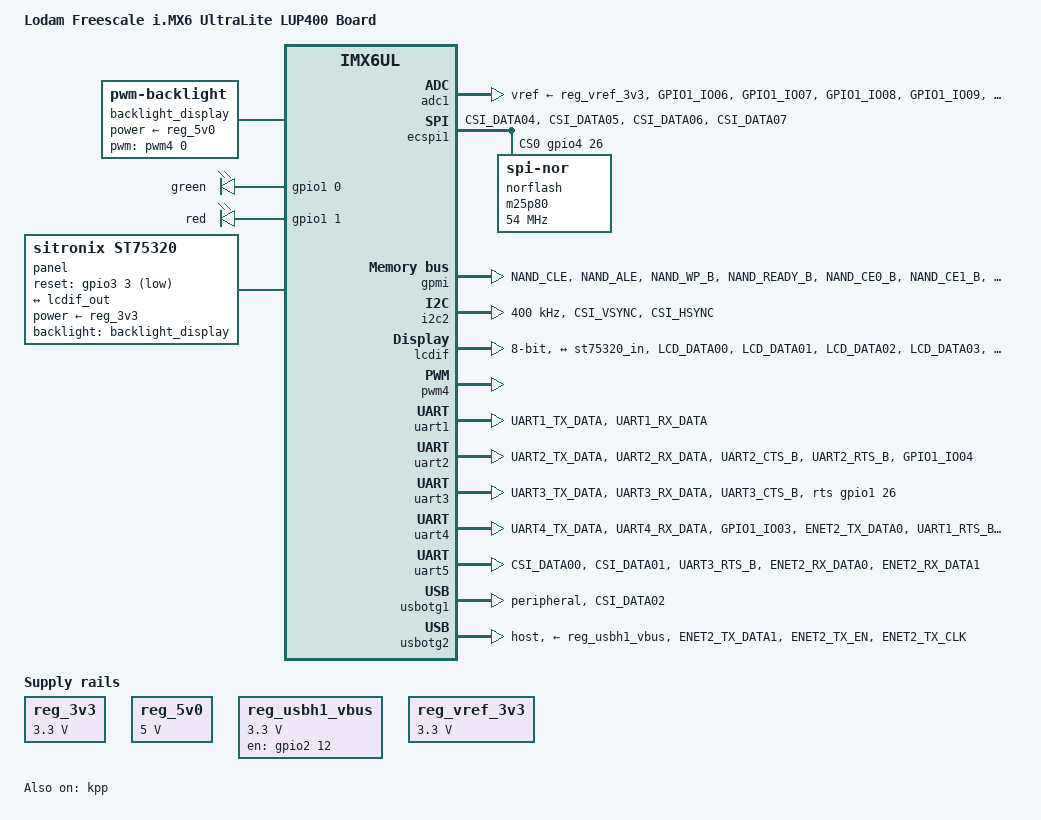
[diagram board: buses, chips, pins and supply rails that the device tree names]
/*
 * The code contained herein is licensed under the GNU General Public
 * License. You may obtain a copy of the GNU General Public License
 * Version 2 or later at the following locations:
 *
 * http://www.opensource.org/licenses/gpl-license.html
 * http://www.gnu.org/copyleft/gpl.html
 */

/dts-v1/;

#include "arm/imx6ul.dtsi"

/ {
	model = "Lodam Freescale i.MX6 UltraLite LUP400 Board";
	compatible = "lodam,imx6ul-lup400", "fsl,imx6ul";

	backlight_display: backlight-display {
		compatible = "pwm-backlight";
		pinctrl-names = "default";
		pinctrl-0 = <&pinctrl_backlight>;
		pwms = <&pwm4 0 20000>;
		brightness-levels = <0 16 32 48 64 80 96 112 128 144 160 176 192 208 224 240 255>;
		default-brightness-level = <16>;
		power-supply = <&reg_5v0>;
		status = "okay";
	};

	chosen {
		stdout-path = &uart1;

		environment@0 {
			compatible = "barebox,environment";
			device-path = &norflash, "partname:barebox-environment";
		};
	};

	leds: leds {
		compatible = "gpio-leds";
		pinctrl-names = "default";
		pinctrl-0 = <&pinctrl_leds>;

		led1: led1 {
			label = "green";
			gpios = <&gpio1 0 GPIO_ACTIVE_HIGH>;
			default-state = "on";
		};

		led2: led2 {
			label = "red";
			gpios = <&gpio1 1 GPIO_ACTIVE_HIGH>;
			default-state = "on";
		};
	};

	panel {
		compatible = "sitronix,st75320";
		backlight = <&backlight_display>;
		reset-gpios = <&gpio3 3 GPIO_ACTIVE_LOW>;
		power-supply = <&reg_3v3>;

		/* V3 in mV */
		st75320,contrast-levels = <10700 10800 10900 11000 11100 11200 11300 11400 11500 11600 11700 11800 11900 12000>;
		st75320,default-contrast-level = <8>;
		/* coefficients in mV  */
		st75320,temperature-coefficients = <0 0
						    0 0
						    0 0
						    0 0
						    0 0
						    0 0
						    0 0
						    0 0>;
		/* Lodam example values from email attachment
		st75320,temperature-coefficients = <(-55) (-25)
						    0 0
						    0 (-5)
						    (-10) (-10)
						    (-15) (-15)
						    (-20) (-25)
						    (-35) (-45)
						    (-75) (-75)>;
		*/
		port {
			st75320_in: endpoint {
				remote-endpoint = <&lcdif_out>;
			};
		};
	};

	regulators {
		compatible = "simple-bus";

		reg_3v3: 3v3 {
			compatible = "regulator-fixed";
			regulator-name = "3v3";
			regulator-min-microvolt = <3300000>;
			regulator-max-microvolt = <3300000>;
			regulator-always-on;
		};

		reg_5v0: 5v0 {
			compatible = "regulator-fixed";
			regulator-name = "5v0";
			regulator-min-microvolt = <5000000>;
			regulator-max-microvolt = <5000000>;
			regulator-always-on;
		};

		reg_usbh1_vbus: usb-h1-vbus {
			compatible = "regulator-fixed";
			enable-active-high;
			gpio = <&gpio2 12 GPIO_ACTIVE_HIGH>;
			regulator-name = "usb_h1_vbus";
			regulator-min-microvolt = <3300000>;
			regulator-max-microvolt = <3300000>;
		};

		reg_vref_3v3: vref-3v3 {
			compatible = "regulator-fixed";
			regulator-name = "vref_3v3";
			regulator-min-microvolt = <3300000>;
			regulator-max-microvolt = <3300000>;
			regulator-always-on;
		};
	};
};

&adc1 {
	pinctrl-names = "default";
	pinctrl-0 = <&pinctrl_adc1>;
	vref-supply = <&reg_vref_3v3>;
	num-channels = <10>;
	status = "okay";
};

/* &can1 { */
/* 	pinctrl-names = "default"; */
/* 	pinctrl-0 = <&pinctrl_flexcan1>; */
/* 	xceiver-supply = <&reg_3p3v>; */
/* }; */

&ecspi1 {
	fsl,spi-num-chipselects = <1>;
	cs-gpios = <&gpio4 26 0>;
	pinctrl-names = "default";
	pinctrl-0 = <&pinctrl_ecspi1>;
	status = "okay";

	norflash: m25p80@0 {
		#address-cells = <1>;
		#size-cells = <1>;
		compatible = "jedec,spi-nor";
		spi-max-frequency = <54000000>;
		reg = <0>;
	};
};

&gpio1 {
	gpio-line-names = "", "", "PMIC_INT_B", "GNSS_ENABLE", "/Bluetooth_Reset", "", "", "",
			  "", "", "", "", "", "", "", "",
			  "", "", "/MODEM_IO", "/MODEM_RESET", "", "", "", "",
			  "", "", "LMC_TransmitEnable", "AUX_TransmitEnable", "", "", "/ONOFF_DETECT", "BAT_MEAS_ENAB";
};

&gpio2 {
	gpio-line-names = "", "", "", "", "", "", "", "",
			  "AUX_PWREN", "AUX_PWR_OC", "", "USB_MODEM_PWREN", "", "", "/USB_HUB_RESET", "",
			  "", "", "", "", "", "", "", "",
			  "", "", "", "", "", "", "", "";
};

&gpio4 {
	gpio-line-names = "", "", "", "", "", "", "", "",
			  "", "", "", "", "", "", "", "",
			  "", "", "", "", "", "", "", "USB_5V_present",
			  "LMC_ON_PULSE", "", "", "", "", "", "", "";
};

&gpmi {
	#address-cells = <1>;
	#size-cells = <1>;
	pinctrl-names = "default";
	pinctrl-0 = <&pinctrl_gpmi_nand>;
	nand-on-flash-bbt;
	status = "okay";
};

&i2c2 {
	clock-frequency = <400000>;
	pinctrl-names = "default";
	pinctrl-0 = <&pinctrl_i2c2>;
	status = "okay";
};

&iomuxc {
	pinctrl-names = "default";
	pinctrl-0 = <&pinctrl_hog>;

	pinctrl_hog: hoggrp {
		/* adjust settings of some pads to save battery power */
		fsl,pins = <
			/* Input signal is always defined externally => no PU/PD */
			MX6UL_PAD_BOOT_MODE0__GPIO5_IO10	0x0
			MX6UL_PAD_BOOT_MODE1__GPIO5_IO11	0x0

			/* Input signal is always defined externally => no PU/PD */
			MX6UL_PAD_SNVS_TAMPER0__GPIO5_IO00	0x0
			MX6UL_PAD_SNVS_TAMPER1__GPIO5_IO01	0x0
			MX6UL_PAD_SNVS_TAMPER2__GPIO5_IO02	0x0
			MX6UL_PAD_SNVS_TAMPER3__GPIO5_IO03	0x0
			MX6UL_PAD_SNVS_TAMPER4__GPIO5_IO04	0x0
			MX6UL_PAD_SNVS_TAMPER5__GPIO5_IO05	0x0
			MX6UL_PAD_SNVS_TAMPER6__GPIO5_IO06	0x0
			MX6UL_PAD_SNVS_TAMPER7__GPIO5_IO07	0x0
			MX6UL_PAD_SNVS_TAMPER8__GPIO5_IO08	0x0
			MX6UL_PAD_SNVS_TAMPER9__GPIO5_IO09	0x0

			/* Input signal is always defined externally => no PU/PD */
			MX6UL_PAD_JTAG_MOD__SJC_MOD		0x0
			MX6UL_PAD_JTAG_TMS__SJC_TMS		0x0
			MX6UL_PAD_JTAG_TDI__SJC_TDI		0x0
			MX6UL_PAD_JTAG_TCK__SJC_TCK		0x0
			MX6UL_PAD_JTAG_TRST_B__SJC_TRSTB	0x0

			/* Input signal is always defined externally => no PU/PD */
			MX6UL_PAD_ENET2_RX_DATA1__GPIO2_IO09	0x0
			MX6UL_PAD_ENET2_RX_EN__GPIO2_IO10	0x0
			MX6UL_PAD_ENET2_RX_ER__GPIO2_IO15	0x0

			/* Input signal is always defined externally => no PU/PD */
			MX6UL_PAD_SD1_CMD__GPIO2_IO16		0x0
			MX6UL_PAD_SD1_CLK__GPIO2_IO17		0x0
			MX6UL_PAD_SD1_DATA2__GPIO2_IO20		0x0
			MX6UL_PAD_SD1_DATA3__GPIO2_IO21		0x0
			MX6UL_PAD_CSI_MCLK__GPIO4_IO17		0x0
			MX6UL_PAD_CSI_PIXCLK__GPIO4_IO18	0x0

			/* Output with default configuration */
			MX6UL_PAD_JTAG_TDO__SJC_TDO		0x31
		>;
	};

	pinctrl_adc1: adc1grp {
		fsl,pins = <
			MX6UL_PAD_GPIO1_IO06__GPIO1_IO06	0x0	/* BAT_MEAS */
			MX6UL_PAD_GPIO1_IO07__GPIO1_IO07	0x0	/* MAINS_MEAS */
			MX6UL_PAD_GPIO1_IO08__GPIO1_IO08	0x0	/* 0V8_Vref */
			MX6UL_PAD_GPIO1_IO09__GPIO1_IO09	0x0	/* NTC Temp. sensor */
			MX6UL_PAD_UART5_RX_DATA__GPIO1_IO31	0x1b020	/* BAT_MEAS_ENABLE */
		>;
	};

	pinctrl_backlight: backlightgrp {
		fsl,pins = <
			MX6UL_PAD_GPIO1_IO05__PWM4_OUT		0x000b0	/* PWM Backlight */
		>;
	};

	pinctrl_diverse_power_related: diverse-power-related-grp {
		fsl,pins = <
			MX6UL_PAD_CSI_DATA03__GPIO4_IO24	0x00020	/* LMC_ON_PULSE */
			MX6UL_PAD_GPIO1_IO02__GPIO1_IO02	0x1b000	/* PMIC_INT_B */
		>;
	};

	pinctrl_ecspi1: ecspi1grp {
		fsl,pins = <
			MX6UL_PAD_CSI_DATA04__ECSPI1_SCLK	0x000b1	/* eCSPI1.SCLK */
			MX6UL_PAD_CSI_DATA05__GPIO4_IO26	0x000b1	/* eCSPI1.SS0 */
			MX6UL_PAD_CSI_DATA06__ECSPI1_MOSI	0x000b1	/* eCSPI1.MOSI */
			MX6UL_PAD_CSI_DATA07__ECSPI1_MISO	0x10000	/* eCSPI1.MISO */
		>;
	};

	pinctrl_flexcan1: flexcan1grp {
		fsl,pins = <
			MX6UL_PAD_SD1_DATA0__FLEXCAN1_TX	0x1b020	/* CAN1_TX */
			MX6UL_PAD_SD1_DATA1__FLEXCAN1_RX	0x1b020	/* CAN1_RX */
		>;
	};

	pinctrl_gpmi_nand: gpmi-nand {
		fsl,pins = <
			MX6UL_PAD_NAND_CLE__RAWNAND_CLE         0xb0b1	/* NAND_CLE */
			MX6UL_PAD_NAND_ALE__RAWNAND_ALE         0xb0b1	/* NAND_ALE */
			MX6UL_PAD_NAND_WP_B__RAWNAND_WP_B       0xb0b1	/* NAND_nWP */
			MX6UL_PAD_NAND_READY_B__RAWNAND_READY_B 0xb000	/* NAND_nREADY */
			MX6UL_PAD_NAND_CE0_B__RAWNAND_CE0_B     0xb0b1	/* NAND_nCE0 */
			MX6UL_PAD_NAND_CE1_B__RAWNAND_CE1_B     0x0	/* NAND_nCE1, has external 10k PD */
			MX6UL_PAD_NAND_DQS__RAWNAND_DQS		0x0	/* NAND_DQS, has external 10k PD */
			MX6UL_PAD_NAND_RE_B__RAWNAND_RE_B       0xb0b1	/* NAND_nRE */
			MX6UL_PAD_NAND_WE_B__RAWNAND_WE_B       0xb0b1	/* NAND_nWE */
			MX6UL_PAD_NAND_DATA00__RAWNAND_DATA00   0xb0b1	/* NAND_DATA0 */
			MX6UL_PAD_NAND_DATA01__RAWNAND_DATA01   0xb0b1	/* NAND_DATA1 */
			MX6UL_PAD_NAND_DATA02__RAWNAND_DATA02   0xb0b1	/* NAND_DATA2 */
			MX6UL_PAD_NAND_DATA03__RAWNAND_DATA03   0xb0b1	/* NAND_DATA3 */
			MX6UL_PAD_NAND_DATA04__RAWNAND_DATA04   0xb0b1	/* NAND_DATA4 */
			MX6UL_PAD_NAND_DATA05__RAWNAND_DATA05   0xb0b1	/* NAND_DATA5 */
			MX6UL_PAD_NAND_DATA06__RAWNAND_DATA06   0xb0b1	/* NAND_DATA6 */
			MX6UL_PAD_NAND_DATA07__RAWNAND_DATA07   0xb0b1	/* NAND_DATA7 */
		>;
	};

	pinctrl_i2c2: i2c2grp {
		fsl,pins = <
			MX6UL_PAD_CSI_VSYNC__I2C2_SDA		0x820	/* I2C_SDA */
			MX6UL_PAD_CSI_HSYNC__I2C2_SCL		0x820	/* I2C_SCL */
		>;
	};

	pinctrl_kpp: kppgrp {
		fsl,pins = <
			MX6UL_PAD_ENET1_RX_DATA0__KPP_ROW00	0x1f820	/* kpp_ROW0 */
			MX6UL_PAD_ENET1_RX_EN__KPP_ROW01	0x1f820	/* kpp_ROW1 */
			MX6UL_PAD_ENET1_TX_DATA1__KPP_ROW02	0x1f820	/* kpp_ROW2 */
			MX6UL_PAD_ENET1_TX_CLK__KPP_ROW03	0x1f820	/* kpp_ROW3 */
			MX6UL_PAD_ENET1_RX_DATA1__KPP_COL00	0x1f820	/* kpp_COL0 */
			MX6UL_PAD_ENET1_TX_DATA0__KPP_COL01	0x1f820	/* kpp_COL1 */
			MX6UL_PAD_ENET1_TX_EN__KPP_COL02	0x1f820	/* kpp_COL2 */
			MX6UL_PAD_ENET1_RX_ER__KPP_COL03	0x1f820	/* kpp_COL3 */
			MX6UL_PAD_UART5_TX_DATA__GPIO1_IO30	0x1b020	/* !ONOFF_Detect */
		>;
	};

	pinctrl_lcdif_ctrl: lcdifctrlgrp {
		fsl,pins = <
			MX6UL_PAD_LCD_CLK__LCDIF_WR_RWN		0x10b0	/* !LCD_WR */
			MX6UL_PAD_LCD_ENABLE__LCDIF_RD_E	0x10b0	/* !LCD_RD */
			MX6UL_PAD_LCD_HSYNC__LCDIF_RS		0x10b0	/* LCD_RS */
			MX6UL_PAD_LCD_VSYNC__GPIO3_IO03		0xb0	/* !LCD_RESET */
			MX6UL_PAD_LCD_RESET__LCDIF_CS		0x10b0	/* !LCD_CS */
		>;
	};

	pinctrl_lcdif_dat: lcdifdatgrp {
		fsl,pins = <
			MX6UL_PAD_LCD_DATA00__LCDIF_DATA00	0x10b0	/* LCD_DATA00 */
			MX6UL_PAD_LCD_DATA01__LCDIF_DATA01	0x10b0	/* LCD_DATA01 */
			MX6UL_PAD_LCD_DATA02__LCDIF_DATA02	0x10b0	/* LCD_DATA02 */
			MX6UL_PAD_LCD_DATA03__LCDIF_DATA03	0x10b0	/* LCD_DATA03 */
			MX6UL_PAD_LCD_DATA04__LCDIF_DATA04	0x10b0	/* LCD_DATA04 */
			MX6UL_PAD_LCD_DATA05__LCDIF_DATA05	0x10b0	/* LCD_DATA05 */
			MX6UL_PAD_LCD_DATA06__LCDIF_DATA06	0x10b0	/* LCD_DATA06 */
			MX6UL_PAD_LCD_DATA07__LCDIF_DATA07	0x10b0	/* LCD_DATA07 */
			MX6UL_PAD_LCD_DATA08__LCDIF_DATA08	0x10b0	/* LCD_DATA08 */
			MX6UL_PAD_LCD_DATA09__LCDIF_DATA09	0x10b0	/* LCD_DATA09 */
			MX6UL_PAD_LCD_DATA10__LCDIF_DATA10	0x10b0	/* LCD_DATA10 */
			MX6UL_PAD_LCD_DATA11__LCDIF_DATA11	0x10b0	/* LCD_DATA11 */
			MX6UL_PAD_LCD_DATA12__LCDIF_DATA12	0x10b0	/* LCD_DATA12 */
			MX6UL_PAD_LCD_DATA13__LCDIF_DATA13	0x10b0	/* LCD_DATA13 */
			MX6UL_PAD_LCD_DATA14__LCDIF_DATA14	0x10b0	/* LCD_DATA14 */
			MX6UL_PAD_LCD_DATA15__LCDIF_DATA15	0x10b0	/* LCD_DATA15 */

			MX6UL_PAD_LCD_DATA16__LCDIF_DATA16	0x1b020	/* BT_CFG4[0] */
			MX6UL_PAD_LCD_DATA17__LCDIF_DATA17	0x0	/* BT_CFG4[1], has external 10k PD */
			MX6UL_PAD_LCD_DATA18__LCDIF_DATA18	0x0	/* BT_CFG4[2], has external 10k PD */
			MX6UL_PAD_LCD_DATA19__LCDIF_DATA19	0x0	/* BT_CFG4[3], has external 10k PU */
			MX6UL_PAD_LCD_DATA20__LCDIF_DATA20	0x0	/* BT_CFG4[4], has external 10k PD */
			MX6UL_PAD_LCD_DATA21__LCDIF_DATA21	0x0	/* BT_CFG4[5], has external 10k PD */
			MX6UL_PAD_LCD_DATA22__LCDIF_DATA22	0x0	/* BT_CFG4[6], has external 10k PD */
			MX6UL_PAD_LCD_DATA23__LCDIF_DATA23	0x0	/* BT_CFG4[7], has external 10k PD */
		>;
	};

	pinctrl_leds: ledsgrp {
		fsl,pins = <
			/* Output with low speed & no DSE */
			MX6UL_PAD_GPIO1_IO00__GPIO1_IO00	0x0030	/* !LED1 */
			MX6UL_PAD_GPIO1_IO01__GPIO1_IO01	0x0030	/* !LED2 */
		>;
	};

	pinctrl_uart1: uart1grp {
		fsl,pins = <
			MX6UL_PAD_UART1_TX_DATA__UART1_DCE_TX	0x1b020	/* Debug_TXD */
			MX6UL_PAD_UART1_RX_DATA__UART1_DCE_RX	0x1b020	/* Debug_RXD */
		>;
	};

	pinctrl_uart2: uart2grp {
		fsl,pins = <
			MX6UL_PAD_UART2_TX_DATA__UART2_DCE_TX	0x1b020	/* Bluetooth_TXD */
			MX6UL_PAD_UART2_RX_DATA__UART2_DCE_RX	0x1b020	/* Bluetooth_RXD */
			MX6UL_PAD_UART2_CTS_B__UART2_DCE_CTS	0x1b020	/* !Bluetooth_CTS */
			MX6UL_PAD_UART2_RTS_B__UART2_DCE_RTS	0x1b020	/* !Bluetooth_RTS */
			MX6UL_PAD_GPIO1_IO04__GPIO1_IO04	0x1b020	/* !Bluetooth_Reset */
		>;
	};

	pinctrl_uart3: uart3grp {
		fsl,pins = <
			MX6UL_PAD_UART3_TX_DATA__UART3_DCE_TX	0x1b020	/* LMC_TXD */
			MX6UL_PAD_UART3_RX_DATA__UART3_DCE_RX	0x1b020	/* LMC_RXD */
			MX6UL_PAD_UART3_CTS_B__GPIO1_IO26	0x1b020	/* LMC_TransmitEnable */
		>;
	};

	pinctrl_uart4: uart4grp {
		fsl,pins = <
			MX6UL_PAD_UART4_TX_DATA__UART4_DCE_TX	0x1b020	/* GNSS_TXD */
			MX6UL_PAD_UART4_RX_DATA__UART4_DCE_RX	0x1b020	/* GNSS_RXD */
			MX6UL_PAD_GPIO1_IO03__GPIO1_IO03	0x000b0	/* GNSS_ENABLE */
			MX6UL_PAD_ENET2_TX_DATA0__GPIO2_IO11	0x1b020	/* USB_MODEM_PWREN */
			MX6UL_PAD_UART1_RTS_B__GPIO1_IO19	0x10020	/* !MODEM_RESET */
			MX6UL_PAD_UART1_CTS_B__GPIO1_IO18	0x10020	/* !MODEM_IO */
		>;
	};

	pinctrl_uart5: uart5grp {
		fsl,pins = <
			MX6UL_PAD_CSI_DATA00__UART5_DCE_TX	0x1b020	/* AUX_TXD */
			MX6UL_PAD_CSI_DATA01__UART5_DCE_RX	0x1b020	/* AUX_RXD */
			MX6UL_PAD_UART3_RTS_B__GPIO1_IO27	0x1b020	/* AUX_TransmitEnable */
			MX6UL_PAD_ENET2_RX_DATA0__GPIO2_IO08	0x1b020	/* AUX_PWREN */
			MX6UL_PAD_ENET2_RX_DATA1__GPIO2_IO09	0x1b020	/* AUX_PWR_OC */
		>;
	};

	pinctrl_usbotg1: usbotg1grp {
		fsl,pins = <
			MX6UL_PAD_CSI_DATA02__GPIO4_IO23	0x10000	/* USB_5V_present */
		>;
	};

	pinctrl_usbotg2: usbotg2grp {
		fsl,pins = <
			MX6UL_PAD_ENET2_TX_DATA1__GPIO2_IO12	0x1b020	/* USB_HOST_PWREN */
			MX6UL_PAD_ENET2_TX_EN__USB_OTG2_OC	0x0	/* !USB_HOST_OC, has external 10k PU */
			MX6UL_PAD_ENET2_TX_CLK__GPIO2_IO14	0x1b020	/* !USB_HUB_RESET */
		>;
	};
};

&kpp {
	pinctrl-names = "default";
	pinctrl-0 = <&pinctrl_kpp>;
	/* MATRIX_KEY(row, col, linux-event-code)                           */
	/* for the latter see include/dt-bindings/input/linux-event-codes.h */
	linux,keymap = <
			/*
			  Column 0:
			  Cancel button = Esc Key event
			  Right arrow button = Right arrow Key event
			  Down arrow button = Down arrow Key event
			  Enter button = Enter key event

			  Column 1:
			  Heater button = H Key event
			  Defrost button = D Key event
			  T button = T Key event
			  C/F button = C Key event

			  Column 2:
			  Service button = S Key event
			  Alarm button = A Key event
			  Operation button = O Key event
			  Info button = I Key event

			  Column 3:
			  Left arrow button = Left arrow Key event
			  Up arrow button = Up arrow Key event
			  PTI button = P Key Event
			  On/Off button = Home Key event [not handled by keypad driver]
			*/
			MATRIX_KEY(0x0, 0x0, KEY_ESC)   /* Cancel */
			MATRIX_KEY(0x1, 0x0, KEY_RIGHT) /* Right */
			MATRIX_KEY(0x2, 0x0, KEY_DOWN)  /* Down */
			MATRIX_KEY(0x3, 0x0, KEY_ENTER) /* Enter */

			MATRIX_KEY(0x0, 0x1, KEY_H)     /* Heater */
			MATRIX_KEY(0x1, 0x1, KEY_D)     /* Defrost */
			MATRIX_KEY(0x2, 0x1, KEY_T)     /* T */
			MATRIX_KEY(0x3, 0x1, KEY_C)     /* C/F */

			MATRIX_KEY(0x0, 0x2, KEY_S)     /* Service, wrench */
			MATRIX_KEY(0x1, 0x2, KEY_A)     /* Alarm ((o)) */
			MATRIX_KEY(0x2, 0x2, KEY_O)     /* Operation, pointing finger */
			MATRIX_KEY(0x3, 0x2, KEY_I)     /* Info, i */

			MATRIX_KEY(0x0, 0x3, KEY_LEFT)  /* Left */
			MATRIX_KEY(0x1, 0x3, KEY_UP)    /* Up */
			MATRIX_KEY(0x2, 0x3, KEY_P)     /* PTI */
			/*MATRIX_KEY(0x3, 0x3, KEY_???)*/
	>;
	keypad,num-rows = <4>;
	keypad,num-columns = <4>;
	status = "okay";
};

&lcdif {
	assigned-clocks = <&clks IMX6UL_CLK_LCDIF_PRE_SEL>;
	assigned-clock-parents = <&clks IMX6UL_CLK_PLL5_VIDEO_DIV>;
	pinctrl-names = "default";
	pinctrl-0 = <&pinctrl_lcdif_dat
		     &pinctrl_lcdif_ctrl>;
	mpu-mode = "8080";
	bus-width = <8>;
	bus-frequency = <2857000>; /* 350 ns per cycle */
	cmd-hold-cycles = <1>;
	cmd-setup-cycles = <1>;
	data-hold-cycles = <3>;
	data-setup-cycles = <1>;
	status = "okay";

	port {
		lcdif_out: endpoint {
			remote-endpoint = <&st75320_in>;
		};
	};
};

&pwm4 {
	status = "okay";
};

&snvs_poweroff {
	pinctrl-names = "default";
	pinctrl-0 = <&pinctrl_diverse_power_related>;
	status = "okay";
};

&uart1 {
	pinctrl-names = "default";
	pinctrl-0 = <&pinctrl_uart1>;
	status = "okay";
};

&uart2 {
	pinctrl-names = "default";
	pinctrl-0 = <&pinctrl_uart2>;
	status = "okay";
	uart-has-rtscts;
};

&uart3 {
	pinctrl-names = "default";
	pinctrl-0 = <&pinctrl_uart3>;
	linux,rs485-enabled-at-boot-time;
	rts-gpios = <&gpio1 26 GPIO_ACTIVE_HIGH>;
	fsl,uart-has-rtscts;
	status = "okay";
};

&uart4 {
	pinctrl-names = "default";
	pinctrl-0 = <&pinctrl_uart4>;
	status = "okay";
};

&uart5 {
	pinctrl-names = "default";
	pinctrl-0 = <&pinctrl_uart5>;
	status = "okay";
};

&usbotg1 {
	pinctrl-names = "default";
	pinctrl-0 = <&pinctrl_usbotg1>;
	dr_mode = "peripheral";
	status = "okay";
};

&usbotg2 {
	pinctrl-names = "default";
	pinctrl-0 = <&pinctrl_usbotg2>;
	vbus-supply =<&reg_usbh1_vbus>;
	dr_mode = "host";
	status = "okay";
};
